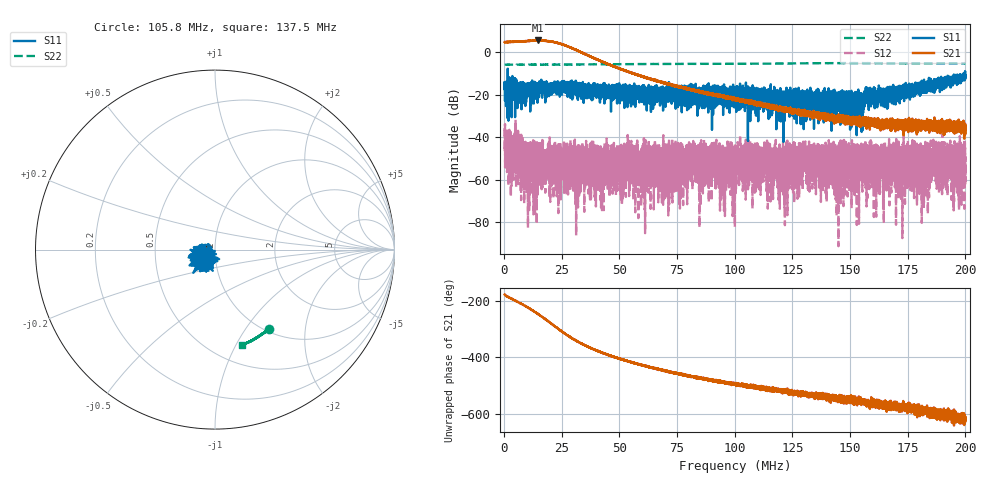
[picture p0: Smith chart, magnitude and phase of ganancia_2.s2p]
# Hz S DB R 50
! CMT, M5065, 19127446, 24.2.4/2
! Date: 11/8/2024 3:45:31 PM
! Data: Format (Calibration Info)
! Freq	S11:dB/Ang(F2)	S21:dB/Ang(F2)	S12:dB/Ang(F2)	S22:dB/Ang(F2)
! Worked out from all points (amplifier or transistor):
!   9000 points, 300 kHz to 200 MHz, reference 50 ohm
!   highest |S21| = 5.5 dB at 14.7 MHz (marker M1)
!   |S21| within 3 dB of that: start of sweep to 28.07 MHz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
!   unconditionally stable (mu >= 1): start of sweep to end of sweep
!   at 33.59 MHz: K = 115.22, MAG = 1.3 dB, |S12| = -50.1 dB
!   at 100.2 MHz: K = 1332.05, MAG = -20.3 dB, |S12| = -49.6 dB
!   at 200 MHz: K = 9130.66, MAG = -34.2 dB, |S12| = -52.9 dB
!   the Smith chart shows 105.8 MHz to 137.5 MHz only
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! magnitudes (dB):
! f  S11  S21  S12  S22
! 300 kHz  -14.2  4.7  -35.4  -5.8
! 1.631 MHz  -19.0  4.8  -45.7  -5.8
! 14.7 MHz  -15.5  5.5  -50.5  -5.8
! 33.59 MHz  -16.1  -0.1  -50.1  -5.7
! 37.07 MHz  -15.4  -1.8  -50.3  -5.7
! 44.59 MHz  -17.0  -5.3  -48.2  -5.7
! 66.87 MHz  -16.7  -13.7  -49.9  -5.5
! 100.2 MHz  -22.3  -21.8  -49.6  -5.5
! 104.6 MHz  -22.5  -23.1  -45.2  -5.4
! 116.4 MHz  -22.0  -25.9  -48.9  -5.4
! 118.4 MHz  -19.7  -25.8  -47.2  -5.3
! 120.8 MHz  -20.2  -26.9  -53.0  -5.3
! 133.4 MHz  -19.4  -30.0  -46.3  -5.2
! 146.1 MHz  -22.9  -29.7  -48.1  -5.1
! 148.1 MHz  -26.1  -31.3  -55.8  -5.1
! 154.9 MHz  -21.1  -32.0  -50.0  -5.1
! 157 MHz  -22.0  -32.2  -53.9  -5.1
! 166.7 MHz  -16.5  -33.0  -48.1  -5.1
! 187.1 MHz  -13.8  -34.4  -60.6  -5.3
! 189.5 MHz  -15.6  -32.3  -54.4  -5.3
! 192.9 MHz  -13.9  -36.7  -45.7  -5.3
! 200 MHz  -11.3  -36.1  -52.9  -5.3
